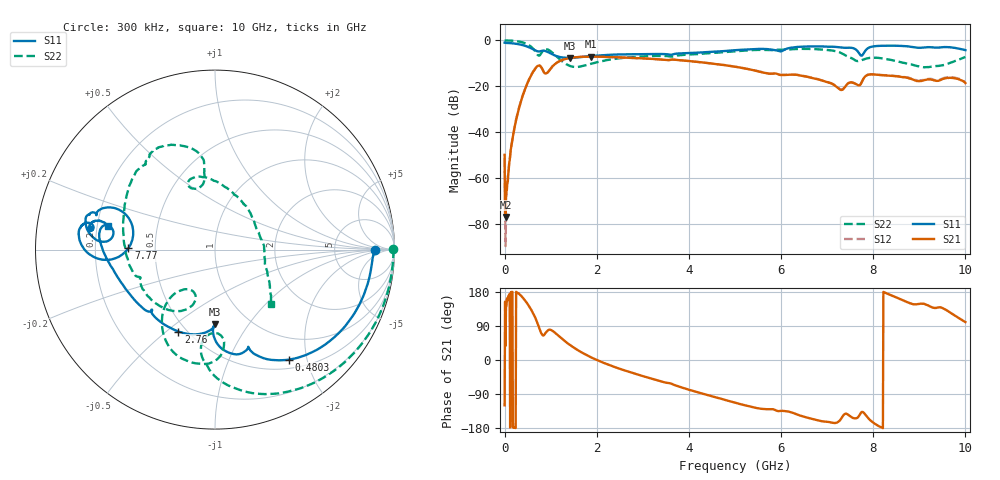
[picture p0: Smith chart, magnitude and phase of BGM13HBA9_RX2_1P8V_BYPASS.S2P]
!Agilent Technologies,E5071C,MY46316587,B.13.01
!Date: Thu Dec 07 13:24:49 2017
!Data & Calibration Information:
!Freq	S11:SOLT2(ON)	S21:SOLT2(ON)	S12:SOLT2(ON)	S22:SOLT2(ON)
!PortZ  Port1:50+j0  Port2:50+j0
!Above PortZ is port z conversion or system Z0 setting when saving the data.
!When reading, reference impedance value at option line is always used.
# Hz S dB R 50
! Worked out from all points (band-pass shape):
!   1001 points, 300 kHz to 10 GHz, reference 50 ohm
!   highest |S21| = -7.09 dB at 1.88 GHz (marker M1); lowest = -77.1 dB at 20.3 MHz (marker M2)
!   |S21| within 3 dB of the highest: 1.109 GHz to 4.487 GHz (3.377 GHz wide, 121 % of centre)
!   lowest |S11| = -7.6 dB at 1.42 GHz (marker M3), VSWR 2.42, Z = 35.4 - j35.5 ohm
!   |S11| at or under -10 dB: nowhere
!   |S22| runs from -11.7 to 0.0 dB; largest |S21 - S12| = 0.0063
!   S11 on the Smith chart (normalised r, x): 300 kHz: 17, -0; 480.3 MHz: 0.63, -1.70; 2.76 GHz: 0.45, -0.55; 7.77 GHz: 0.35, +0.01; 10 GHz: 0.24, +0.10
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300000  -1.02 -0.1  -49.92 -119.7  -51.39 156.1  -0.06 0.1
2.02994e7  -1.11 -2.8  -77.09 37.2  -89.76 45.6  -0.06 -3.1
6.02982e7  -1.15 -7.6  -61.56 156.4  -63.22 168.4  -0.07 -9.2
1.202964e8  -1.22 -14.9  -50.62 -178.2  -49.86 175.5  -0.11 -18.3
2.502925e8  -1.50 -30.4  -34.77 179.9  -34.32 179.7  -0.34 -38.1
4.802856e8  -2.63 -56.1  -19.44 151.2  -19.29 151.2  -1.57 -74.0
7.102787e8  -4.75 -71.0  -11.26 97.9  -11.22 97.8  -6.18 -96.4
8.202754e8  -4.53 -74.4  -12.55 66.1  -12.48 66.1  -4.83 -85.8
1.030269e9  -6.05 -90.1  -11.56 77.8  -11.52 77.7  -5.26 -122.0
1.420257e9  -7.64 -89.8  -7.70 39.5  -7.68 39.7  -11.19 -127.0
1.67025e9  -7.27 -91.0  -7.18 20.1  -7.17 20.3  -11.31 -114.1
1.880244e9  -6.86 -94.2  -7.09 6.7  -7.10 7.0  -10.21 -111.2
2.760217e9  -6.03 -114.0  -7.65 -33.5  -7.67 -33.3  -7.32 -130.1
3.3402e9  -5.96 -129.8  -8.27 -54.7  -8.32 -54.6  -6.81 -149.7
5.00015e9  -4.31 -176.1  -11.52 -112.5  -11.46 -112.5  -4.75 147.9
6.6701e9  -2.61 167.2  -16.36 -155.4  -16.27 -155.1  -3.81 116.9
7.300081e9  -3.10 162.9  -21.64 -155.6  -21.47 -155.5  -5.50 98.6
7.640071e9  -4.29 157.6  -19.21 -153.3  -19.17 -153.5  -8.98 104.3
7.770067e9  -6.32 179.2  -17.41 -137.0  -17.34 -137.2  -8.51 112.1
8.34005e9  -2.32 172.8  -15.40 173.3  -15.34 173.2  -8.36 89.6
9.140026e9  -3.06 171.1  -17.25 146.5  -17.02 145.6  -11.67 23.3
1e10  -4.27 167.5  -18.63 100.1  -18.34 100.6  -7.25 -44.0
